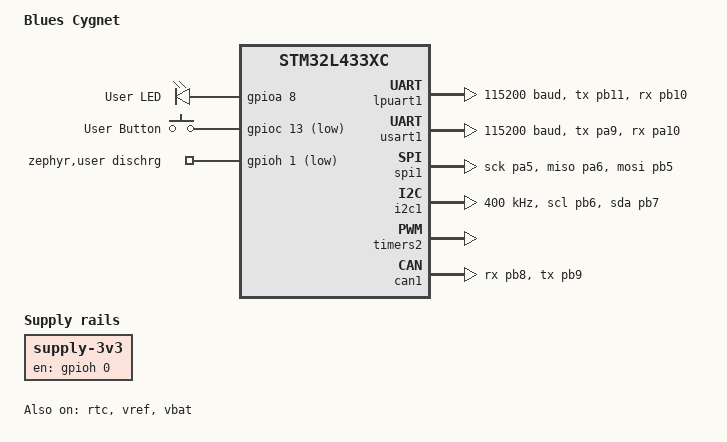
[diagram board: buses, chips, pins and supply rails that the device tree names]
/*
 * Copyright (c) 2025 Blues
 *
 * SPDX-License-Identifier: Apache-2.0
 */

/dts-v1/;
#include <st/l4/stm32l433Xc.dtsi>
#include <st/l4/stm32l433c(b-c)ux-pinctrl.dtsi>
#include "feather_connector.dtsi"
#include <zephyr/dt-bindings/input/input-event-codes.h>

/ {
	model = "Blues Cygnet";
	compatible = "blues,cygnet";

	chosen {
		zephyr,console = &lpuart1;
		zephyr,shell-uart = &lpuart1;
		zephyr,sram = &sram0;
		zephyr,flash = &flash0;
	};

	leds: leds {
		compatible = "gpio-leds";

		user_led: led_0 {
			gpios = <&gpioa 8 GPIO_ACTIVE_HIGH>;
			label = "User LED";
		};
	};

	gpio_keys {
		compatible = "gpio-keys";

		user_button: button {
			gpios = <&gpioc 13 GPIO_ACTIVE_LOW>;
			label = "User Button";
			zephyr,code = <INPUT_KEY_0>;
		};
	};

	// PH1 can be used to discharge the 3v3 net. Disabled by default.
	zephyr,user {
		dischrg-gpios = <&gpioh 1 (GPIO_ACTIVE_LOW | GPIO_OPEN_DRAIN)>;
	};

	supply-3v3 {
		compatible = "regulator-fixed";
		regulator-name = "supply-3v3";
		enable-gpios = <&gpioh 0 GPIO_ACTIVE_HIGH>;
		regulator-boot-on;
	};

	aliases {
		led0 = &user_led;
		sw0 = &user_button;
		volt-sensor0 = &vref;
		volt-sensor1 = &vbat;
	};
};

&clk_lsi {
	status = "okay";
};

&clk_hsi {
	status = "okay";
};

&pll {
	div-m = <1>;
	mul-n = <20>;
	div-p = <7>;
	div-q = <2>;
	div-r = <4>;
	clocks = <&clk_hsi>;
	status = "okay";
};

&rcc {
	clocks = <&pll>;
	clock-frequency = <DT_FREQ_M(80)>;
	ahb-prescaler = <1>;
	apb1-prescaler = <1>;
	apb2-prescaler = <1>;
};

&lpuart1 {
	pinctrl-0 = <&lpuart1_tx_pb11 &lpuart1_rx_pb10>;
	pinctrl-names = "default";
	current-speed = <115200>;
	status = "okay";
};

&usart1 {
	pinctrl-0 = <&usart1_tx_pa9 &usart1_rx_pa10>;
	pinctrl-names = "default";
	current-speed = <115200>;
};

&spi1 {
	pinctrl-0 = <&spi1_sck_pa5 &spi1_miso_pa6 &spi1_mosi_pb5>;
	pinctrl-names = "default";
	cs-gpios = <&gpiob 0 (GPIO_ACTIVE_LOW | GPIO_PULL_UP)>;
	status = "okay";
};

&i2c1 {
	pinctrl-0 = <&i2c1_scl_pb6 &i2c1_sda_pb7>;
	pinctrl-names = "default";
	clock-frequency = <I2C_BITRATE_FAST>;
	status = "okay";
};

&timers2 {
	status = "okay";

	pwm2: pwm {
		status = "okay";
		pinctrl-0 = <&tim2_ch1_pa0>;
		pinctrl-names = "default";
	};
};

&can1 {
	pinctrl-0 = <&can1_rx_pb8 &can1_tx_pb9>;
	pinctrl-names = "default";
	status = "okay";
};

&rtc {
	clocks = <&rcc STM32_CLOCK(APB1, 28)>,
		 <&rcc STM32_SRC_LSI RTC_SEL(2)>;
	status = "okay";
};

&flash0 {
	partitions {
		compatible = "fixed-partitions";
		#address-cells = <1>;
		#size-cells = <1>;

		/*
		 * Reserve the final 16 KiB for file system partition
		 */
		storage_partition: partition@3c000 {
			label = "storage";
			reg = <0x0003c000 DT_SIZE_K(16)>;
		};
	};
};

&vref {
	status = "okay";
};

&vbat {
	status = "okay";
};
